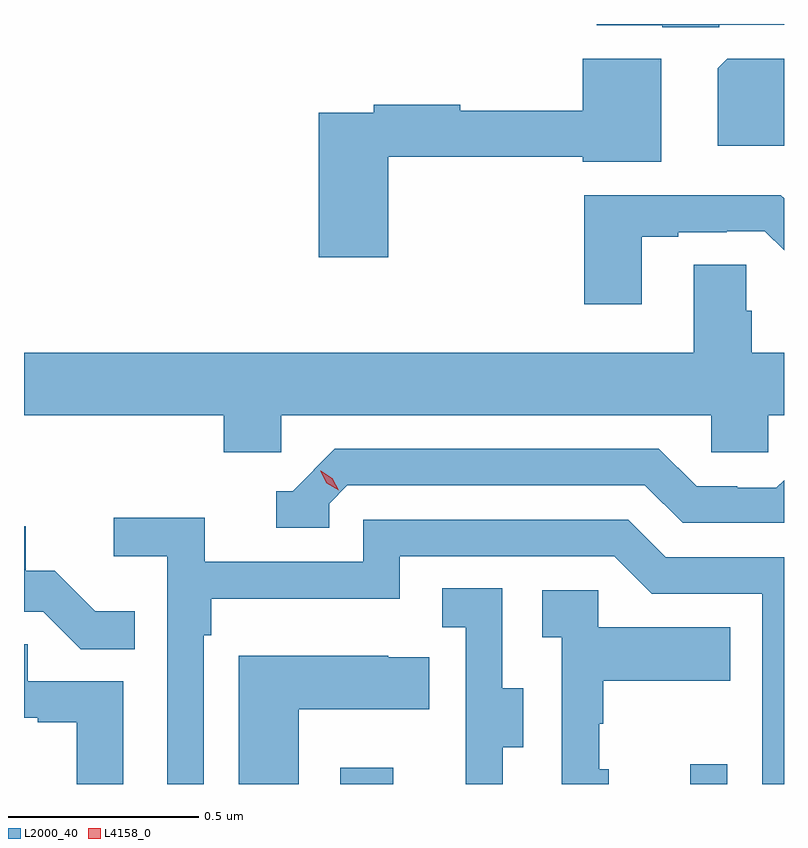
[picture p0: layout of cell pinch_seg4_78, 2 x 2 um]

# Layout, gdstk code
import gdstk
lib = gdstk.Library(unit=1e-6, precision=1e-09)
def R(c, l, rs):  # rectangles x0, y0, x1, y1
    for r in rs: c.add(gdstk.rectangle(r[:2], r[2:], *l))
def P(c, l, *ps):  # polygons
    for p in ps: c.add(gdstk.Polygon(p, *l))
L2000_40 = (2000, 40)
L4158_0 = (4158, 0)

pinch_seg4_78 = lib.new_cell('pinch_seg4_78')
R(pinch_seg4_78, L2000_40, [(1059.383,811.833,1059.523,811.876), (1060.304,811.833,1060.401,811.885)])
P(pinch_seg4_78, L2000_40, [(1060.38,813.831),(1060.551,813.831),(1060.551,813.833),(1060.058,813.833),(1060.058,813.83),(1060.23,813.83),(1060.23,813.824),(1060.38,813.824)],
  [(1060.551,813.742),(1060.402,813.742),(1060.376,813.716),(1060.376,813.512),(1060.551,813.512)],
  [(1059.509,813.484),(1060.022,813.484),(1060.022,813.47),(1060.228,813.47),(1060.228,813.742),(1060.022,813.742),(1060.022,813.605),(1059.699,813.605),(1059.699,813.62),(1059.472,813.62),(1059.472,813.6),(1059.326,813.6),(1059.326,813.219),(1059.509,813.219)],
  [(1060.177,813.273),(1060.273,813.273),(1060.273,813.285),(1060.4,813.285),(1060.4,813.288),(1060.5,813.288),(1060.551,813.237),(1060.551,813.375),(1060.543,813.383),(1060.025,813.383),(1060.025,813.096),(1060.177,813.096)],
  [(1059.228,812.804),(1060.359,812.804),(1060.359,812.706),(1060.509,812.706),(1060.509,812.804),(1060.551,812.804),(1060.551,812.968),(1060.466,812.968),(1060.466,813.078),(1060.452,813.078),(1060.452,813.2),(1060.313,813.2),(1060.313,812.968),(1058.551,812.968),(1058.551,812.804),(1059.077,812.804),(1059.077,812.706),(1059.228,812.706)],
  [(1059.354,812.571),(1059.402,812.619),(1060.185,812.619),(1060.284,812.52),(1060.551,812.52),(1060.551,812.633),(1060.531,812.613),(1060.428,812.613),(1060.428,812.616),(1060.321,812.616),(1060.222,812.715),(1059.369,812.715),(1059.258,812.604),(1059.215,812.604),(1059.215,812.508),(1059.354,812.508)],
  [(1059.024,812.225),(1059.044,812.225),(1059.044,812.321),(1059.54,812.321),(1059.54,812.433),(1060.104,812.433),(1060.203,812.334),(1060.494,812.334),(1060.494,811.833),(1060.551,811.833),(1060.551,812.43),(1060.24,812.43),(1060.141,812.529),(1059.444,812.529),(1059.444,812.418),(1059.026,812.418),(1059.026,812.534),(1058.787,812.534),(1058.787,812.432),(1058.928,812.432),(1058.928,811.833),(1059.024,811.833)],
  [(1058.843,812.287),(1058.739,812.287),(1058.632,812.394),(1058.556,812.394),(1058.556,812.511),(1058.551,812.511),(1058.551,812.286),(1058.602,812.286),(1058.7,812.188),(1058.843,812.188)],
  [(1059.811,811.93),(1059.865,811.93),(1059.865,812.085),(1059.81,812.085),(1059.81,812.348),(1059.651,812.348),(1059.651,812.245),(1059.714,812.245),(1059.714,811.941),(1059.713,811.941),(1059.713,811.833),(1059.811,811.833)],
  [(1060.09,811.872),(1060.065,811.872),(1060.065,811.991),(1060.075,811.991),(1060.075,812.105),(1060.409,812.105),(1060.409,812.245),(1060.062,812.245),(1060.062,812.343),(1059.915,812.343),(1059.915,812.219),(1059.966,812.219),(1059.966,811.833),(1060.09,811.833)],
  [(1058.812,812.103),(1058.561,812.103),(1058.561,812.201),(1058.551,812.201),(1058.551,812.007),(1058.587,812.007),(1058.587,811.995),(1058.69,811.995),(1058.69,811.833),(1058.812,811.833)],
  [(1059.274,812.03),(1059.617,812.03),(1059.617,812.167),(1059.509,812.167),(1059.509,812.17),(1059.116,812.17),(1059.116,811.833),(1059.274,811.833)])
P(pinch_seg4_78, L4158_0, [(1059.379,812.606),(1059.348,812.625),(1059.331,812.657),(1059.331,812.657),(1059.332,812.657),(1059.362,812.638),(1059.379,812.606),(1059.379,812.606)])

lib.write_gds('pinch_seg4_78.gds')
